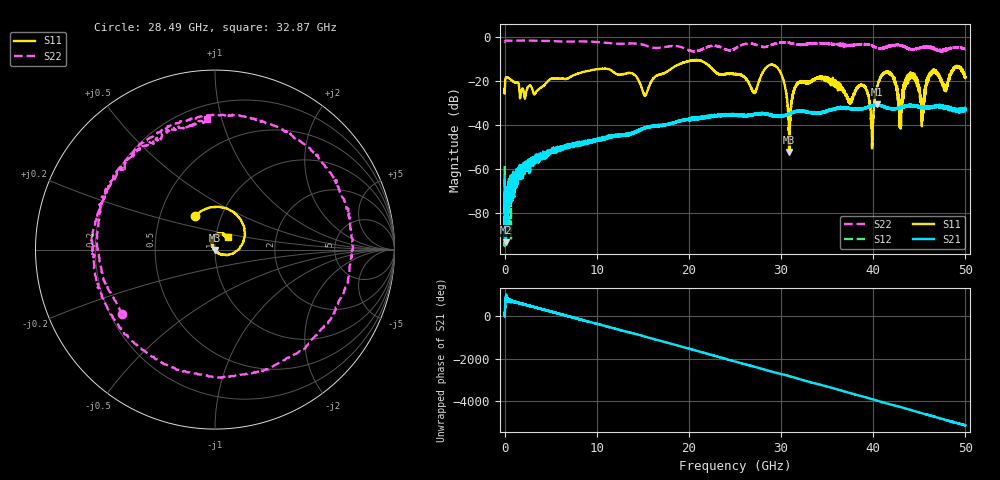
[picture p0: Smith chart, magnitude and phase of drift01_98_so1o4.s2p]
!Created with skrf (http://scikit-rf.org).
# Hz S RI R 50.0
!freq ReS11 ImS11 ReS21 ImS21 ReS12 ImS12 ReS22 ImS22
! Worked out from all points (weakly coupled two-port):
!   10001 points, 300 kHz to 50 GHz, reference 50 ohm
!   highest |S21| = -30.50 dB at 40.44 GHz (marker M1); lowest = -93.5 dB at 130.3 MHz (marker M2)
!   lowest |S11| = -52.3 dB at 30.9 GHz (marker M3), VSWR 1.00, Z = 49.8 - j0.16 ohm
!   |S11| at or under -10 dB: start of sweep to end of sweep
!   |S22| runs from -6.6 to -1.4 dB; largest |S21 - S12| = 0.0039
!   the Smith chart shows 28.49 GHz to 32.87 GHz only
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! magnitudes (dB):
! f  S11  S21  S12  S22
! 300 kHz  -23.4  -63.2  -58.8  -2.1
! 130.3 MHz  -18.4  -93.5  -76.1  -1.5
! 3.015 GHz  -23.7  -55.8  -55.5  -1.4
! 8.335 GHz  -16.0  -48.6  -47.8  -1.8
! 15.23 GHz  -26.4  -41.2  -41.0  -3.5
! 16.67 GHz  -17.1  -40.2  -40.3  -4.8
! 25 GHz  -16.7  -35.2  -35.4  -5.1
! 27.1 GHz  -25.2  -35.0  -35.2  -3.2
! 29.44 GHz  -13.1  -36.0  -36.2  -2.7
! 30.9 GHz  -52.3  -34.9  -34.6  -2.5
! 31.66 GHz  -21.7  -33.5  -33.9  -3.1
! 33.34 GHz  -19.7  -34.3  -34.4  -2.7
! 37.5 GHz  -29.3  -32.4  -32.6  -3.8
! 38.92 GHz  -22.2  -32.4  -32.4  -3.0
! 39.86 GHz  -45.4  -31.3  -31.1  -3.8
! 40.44 GHz  -22.2  -30.5  -30.6  -4.8
! 41.67 GHz  -16.0  -32.4  -32.4  -4.2
! 42.91 GHz  -29.6  -32.0  -32.0  -3.5
! 44.03 GHz  -17.8  -30.9  -31.2  -5.4
! 45.31 GHz  -38.2  -31.9  -31.9  -4.3
! 46.42 GHz  -15.4  -31.6  -31.6  -4.6
! 50 GHz  -18.3  -33.4  -32.5  -5.4
